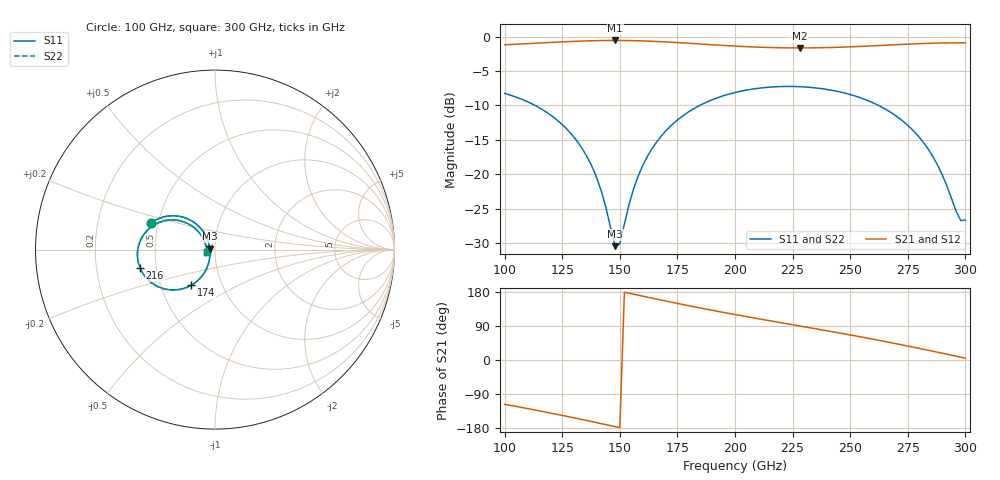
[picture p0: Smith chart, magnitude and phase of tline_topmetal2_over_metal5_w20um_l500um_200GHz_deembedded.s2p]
! Created with skrf 2.2.0 (http://scikit-rf.org).
# GHz S DB R 50.0
! Port[1] = P1
! Port[2] = P2
!freq dBS11 angS11 dBS21 angS21 dBS12 angS12 dBS22 angS22
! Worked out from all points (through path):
!   101 points, 100 GHz to 300 GHz, reference 50 ohm
!   highest |S21| = -0.57 dB at 148 GHz (marker M1); lowest = -1.6 dB at 228 GHz (marker M2)
!   group delay of S21, straight-line fit = 3.27 ps
!   lowest |S11| = -30.5 dB at 148 GHz (marker M3), VSWR 1.06, Z = 47.1 + j0.528 ohm
!   |S11| at or under -10 dB: 113.1 GHz to 184.8 GHz (71.66 GHz wide, 48.1 % of centre); 262.2 GHz to end of sweep
!   |S22| runs from -30.7 to -7.3 dB; largest |S21 - S12| = 9.6e-14
!   S11 on the Smith chart (normalised r, x): 100 GHz: 0.46, +0.16; 174 GHz: 0.71, -0.30; 216 GHz: 0.40, -0.10; 300 GHz: 0.92, -0.03
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100  -8.26 157.4  -1.19 -116.9  -1.19 -116.9  -8.27 157.3
120  -11.42 136.6  -0.86 -140.1  -0.86 -140.1  -11.43 136.5
134  -16.47 124.4  -0.65 -157.6  -0.65 -157.6  -16.48 124.1
142  -22.49 125.7  -0.58 -168.0  -0.58 -168.0  -22.55 125.3
148  -30.48 169.2  -0.57 -175.8  -0.57 -175.8  -30.72 169.1
150  -30.14 -154.3  -0.57 -178.5  -0.57 -178.5  -30.33 -153.4
154  -24.44 -120.7  -0.58 176.3  -0.58 176.3  -24.47 -119.9
158  -20.26 -114.4  -0.61 171.0  -0.61 171.0  -20.27 -113.9
168  -14.46 -118.4  -0.74 158.1  -0.74 158.1  -14.46 -118.2
174  -12.41 -123.9  -0.85 150.6  -0.85 150.6  -12.41 -123.7
186  -9.79 -136.0  -1.10 136.0  -1.10 136.0  -9.79 -135.9
200  -8.14 -150.4  -1.38 120.0  -1.38 120.0  -8.14 -150.2
216  -7.33 -166.3  -1.60 102.6  -1.60 102.6  -7.33 -166.1
228  -7.29 -177.9  -1.65 89.9  -1.65 89.9  -7.29 -177.8
234  -7.43 176.3  -1.64 83.5  -1.64 83.5  -7.43 176.4
252  -8.63 158.9  -1.46 63.9  -1.46 63.9  -8.63 159.0
268  -11.11 143.7  -1.21 45.3  -1.21 45.3  -11.11 143.8
276  -13.22 137.0  -1.08 35.6  -1.08 35.6  -13.22 137.1
284  -16.43 133.0  -0.98 25.5  -0.98 25.5  -16.43 133.0
290  -20.14 135.5  -0.93 17.8  -0.93 17.8  -20.14 135.5
298  -26.75 177.0  -0.91 7.4  -0.91 7.4  -26.78 177.0
300  -26.68 -160.7  -0.91 4.8  -0.91 4.8  -26.72 -160.6
